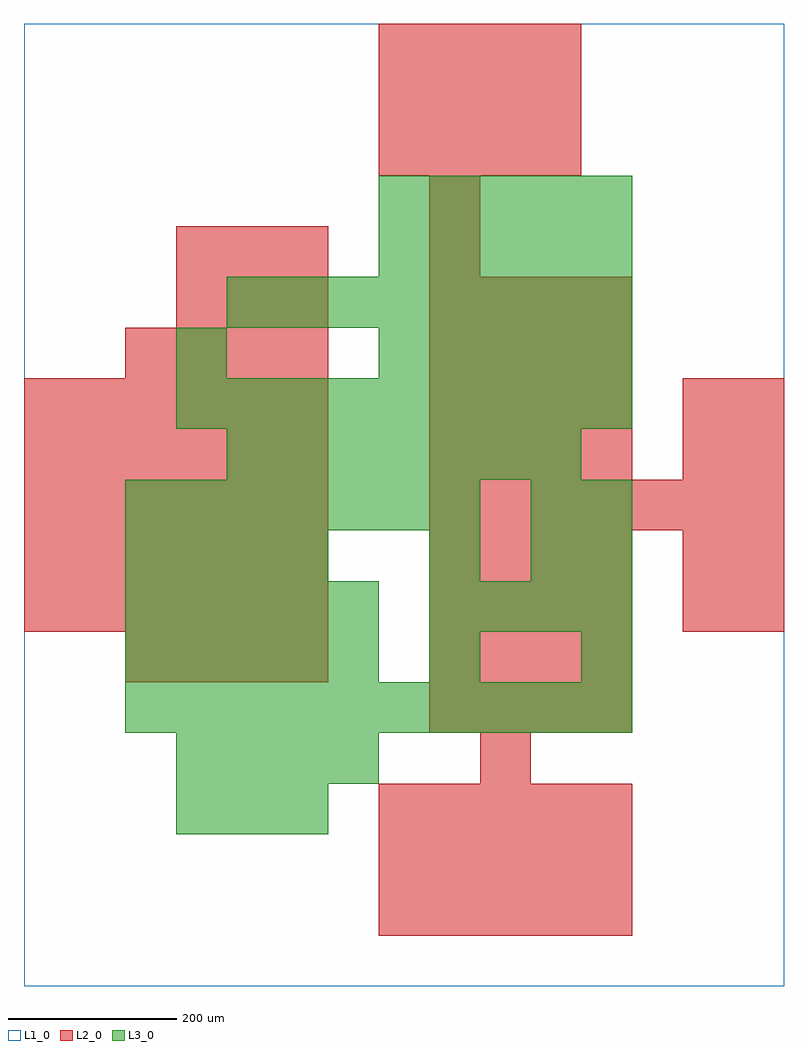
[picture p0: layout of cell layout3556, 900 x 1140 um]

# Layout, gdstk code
import gdstk
lib = gdstk.Library(unit=1e-6, precision=1e-09)
def R(c, l, rs):  # rectangles x0, y0, x1, y1
    for r in rs: c.add(gdstk.rectangle(r[:2], r[2:], *l))
def A(c, l, x, y, w, h, nx, ny, dx, dy):  # array of equal rectangles
    R(c, l, [(x+i*dx, y+j*dy, x+i*dx+w, y+j*dy+h) for i in range(nx) for j in range(ny)])
L1_0 = (1, 0)
L2_0 = (2, 0)
L3_0 = (3, 0)

layout3556 = lib.new_cell('layout3556')
R(layout3556, L1_0, [(0,0,900,1140)])
A(layout3556, L2_0, 420, 60, 60, 60, 5, 3, 60, 60)
A(layout3556, L2_0, 480, 300, 60, 60, 4, 4, 60, 60)
A(layout3556, L2_0, 120, 360, 60, 60, 4, 2, 60, 360)
A(layout3556, L2_0, 0, 420, 60, 60, 6, 5, 60, 60)
A(layout3556, L2_0, 480, 540, 60, 60, 7, 1, 60, 0)
A(layout3556, L2_0, 480, 600, 60, 60, 4, 4, 60, 60)
A(layout3556, L2_0, 180, 780, 60, 60, 3, 2, 60, 60)
A(layout3556, L2_0, 420, 960, 60, 60, 4, 3, 60, 60)
R(layout3556, L2_0, [(540,240,600,300), (780,420,840,480), (840,420,900,480), (780,480,840,540), (840,480,900,540), (780,600,840,660), (840,600,900,660), (780,660,840,720), (840,660,900,720), (480,840,540,900), (480,900,540,960)])
A(layout3556, L3_0, 180, 180, 60, 60, 3, 1, 60, 0)
A(layout3556, L3_0, 180, 240, 60, 60, 4, 1, 60, 0)
A(layout3556, L3_0, 120, 300, 60, 60, 10, 1, 60, 0)
A(layout3556, L3_0, 120, 360, 60, 60, 5, 2, 60, 60)
A(layout3556, L3_0, 480, 420, 60, 60, 4, 1, 60, 0)
A(layout3556, L3_0, 120, 480, 60, 60, 4, 1, 60, 0)
A(layout3556, L3_0, 120, 540, 60, 60, 7, 1, 60, 0)
A(layout3556, L3_0, 240, 600, 60, 60, 7, 1, 60, 0)
A(layout3556, L3_0, 180, 660, 60, 60, 9, 1, 60, 0)
A(layout3556, L3_0, 420, 720, 60, 60, 5, 2, 60, 120)
A(layout3556, L3_0, 240, 780, 60, 60, 8, 1, 60, 0)
A(layout3556, L3_0, 420, 900, 60, 60, 5, 1, 60, 0)
R(layout3556, L3_0, [(480,360,540,420), (660,360,720,420), (480,480,540,540), (600,480,660,540), (660,480,720,540), (600,540,660,600), (660,540,720,600), (180,720,240,780)])

lib.write_gds('layout3556.gds')
